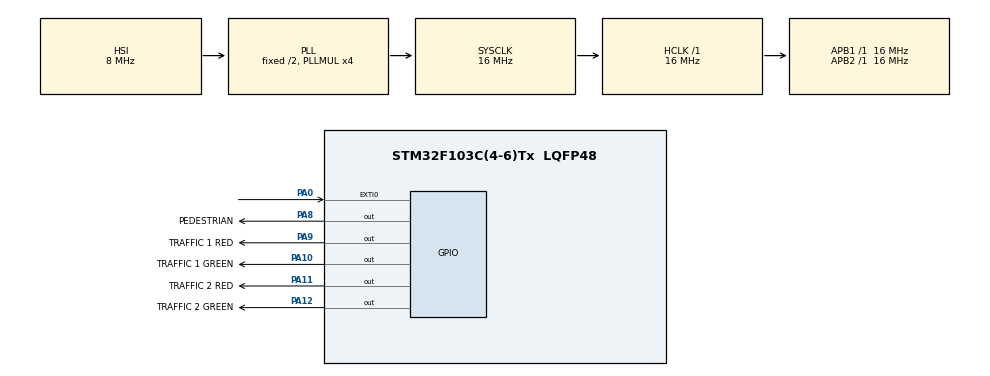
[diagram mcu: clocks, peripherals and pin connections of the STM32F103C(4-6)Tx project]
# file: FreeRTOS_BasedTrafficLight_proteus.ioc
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FREERTOS.BinarySemaphores01=myBinarySem01,Dynamic,NULL,Available;myBinarySem02,Dynamic,NULL,Available
FREERTOS.Tasks01=Traffic1,0,128,StartTraffic1,Default,NULL,Dynamic,NULL,NULL;Traffic2,0,128,StartTraffic2,Default,NULL,Dynamic,NULL,NULL;Pedestrian,2,128,StartPedestrian,Default,NULL,Dynamic,NULL,NULL
FREERTOS.configUSE_NEWLIB_REENTRANT=1
Mcu.Family=STM32F1
Mcu.Name=STM32F103C(4-6)Tx
Mcu.Package=LQFP48
NVIC.EXTI0_IRQn=true\:0\:0\:false\:false\:true\:false\:true\:true\:true
NVIC.PriorityGroup=NVIC_PRIORITYGROUP_4
NVIC.TIM2_IRQn=true\:15\:0\:false\:false\:true\:false\:false\:true\:true
NVIC.TimeBase=TIM2_IRQn
NVIC.TimeBaseIP=TIM2
PA0-WKUP.Signal=GPXTI0
PA10.GPIO_Label=TRAFFIC 1 GREEN
PA10.Signal=GPIO_Output
PA11.GPIO_Label=TRAFFIC 2 RED
PA11.Signal=GPIO_Output
PA12.GPIO_Label=TRAFFIC 2 GREEN
PA12.Signal=GPIO_Output
PA13.Mode=Serial_Wire
PA13.Signal=SYS_JTMS-SWDIO
PA14.Mode=Serial_Wire
PA14.Signal=SYS_JTCK-SWCLK
PA8.GPIO_Label=PEDESTRIAN
PA8.Signal=GPIO_Output
PA9.GPIO_Label=TRAFFIC 1 RED
PA9.Signal=GPIO_Output
PD0-OSC_IN.Mode=HSE-External-Oscillator
PD0-OSC_IN.Signal=RCC_OSC_IN
PD1-OSC_OUT.Mode=HSE-External-Oscillator
PD1-OSC_OUT.Signal=RCC_OSC_OUT
ProjectManager.HeapSize=0x200
ProjectManager.StackSize=0x400
ProjectManager.TargetToolchain=STM32CubeIDE
RCC.AHBFreq_Value=16000000
RCC.APB1Freq_Value=16000000
RCC.APB1TimFreq_Value=16000000
RCC.APB2Freq_Value=16000000
RCC.APB2TimFreq_Value=16000000
RCC.HCLKFreq_Value=16000000
RCC.PLLMUL=RCC_PLL_MUL4
RCC.SYSCLKFreq_VALUE=16000000
RCC.SYSCLKSource=RCC_SYSCLKSOURCE_PLLCLK
RCC.USBFreq_Value=16000000
VP_FREERTOS_VS_CMSIS_V1.Mode=CMSIS_V1
VP_SYS_VS_tim2.Mode=TIM2
board=custom

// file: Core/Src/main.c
/* USER CODE BEGIN Header */
/**
  ******************************************************************************
  * @file           : main.c
  * @brief          : Main program body
  ******************************************************************************
  * @attention
  *
  * Copyright (c) 2024 STMicroelectronics.
  * All rights reserved.
  *
  * This software is licensed under terms that can be found in the LICENSE file
  * in the root directory of this software component.
  * If no LICENSE file comes with this software, it is provided AS-IS.
  *
  ******************************************************************************
  */
/* USER CODE END Header */
#include "main.h"
#include "cmsis_os.h"

/* USER CODE BEGIN Includes */

#include "string.h"
#include "stdint.h"

/* USER CODE END Includes */

osThreadId Traffic1Handle;
osThreadId Traffic2Handle;
osThreadId PedestrianHandle;
osSemaphoreId myBinarySem01Handle;
osSemaphoreId myBinarySem02Handle;

void SystemClock_Config(void);
static void MX_GPIO_Init(void);
void StartTraffic1(void const * argument);
void StartTraffic2(void const * argument);
void StartPedestrian(void const * argument);

int main(void)
{

  /* MCU Configuration--------------------------------------------------------*/

  /* Reset of all peripherals, Initializes the Flash interface and the Systick. */
  HAL_Init();

  /* Configure the system clock */
  SystemClock_Config();

  /* Initialize all configured peripherals */
  MX_GPIO_Init();

  /* Create the semaphores(s) */
  /* definition and creation of myBinarySem01 */
  osSemaphoreDef(myBinarySem01);
  myBinarySem01Handle = osSemaphoreCreate(osSemaphore(myBinarySem01), 1);

  /* definition and creation of myBinarySem02 */
  osSemaphoreDef(myBinarySem02);
  myBinarySem02Handle = osSemaphoreCreate(osSemaphore(myBinarySem02), 1);

  /* Create the thread(s) */
  /* definition and creation of Traffic1 */
  osThreadDef(Traffic1, StartTraffic1, osPriorityNormal, 0, 128);
  Traffic1Handle = osThreadCreate(osThread(Traffic1), NULL);

  /* definition and creation of Traffic2 */
  osThreadDef(Traffic2, StartTraffic2, osPriorityNormal, 0, 128);
  Traffic2Handle = osThreadCreate(osThread(Traffic2), NULL);

  /* definition and creation of Pedestrian */
  osThreadDef(Pedestrian, StartPedestrian, osPriorityHigh, 0, 128);
  PedestrianHandle = osThreadCreate(osThread(Pedestrian), NULL);

  /* Start scheduler */
  osKernelStart();

  /* We should never get here as control is now taken by the scheduler */

  /* Infinite loop */
  while (1)
  {

  }
}

void SystemClock_Config(void)
{
  RCC_OscInitTypeDef RCC_OscInitStruct = {0};
  RCC_ClkInitTypeDef RCC_ClkInitStruct = {0};

  /** Initializes the RCC Oscillators according to the specified parameters
  * in the RCC_OscInitTypeDef structure.
  */
  RCC_OscInitStruct.OscillatorType = RCC_OSCILLATORTYPE_HSI;
  RCC_OscInitStruct.HSIState = RCC_HSI_ON;
  RCC_OscInitStruct.HSICalibrationValue = RCC_HSICALIBRATION_DEFAULT;
  RCC_OscInitStruct.PLL.PLLState = RCC_PLL_ON;
  RCC_OscInitStruct.PLL.PLLSource = RCC_PLLSOURCE_HSI_DIV2;
  RCC_OscInitStruct.PLL.PLLMUL = RCC_PLL_MUL4;
  if (HAL_RCC_OscConfig(&RCC_OscInitStruct) != HAL_OK)
  {
    Error_Handler();
  }

  /** Initializes the CPU, AHB and APB buses clocks
  */
  RCC_ClkInitStruct.ClockType = RCC_CLOCKTYPE_HCLK|RCC_CLOCKTYPE_SYSCLK
                              |RCC_CLOCKTYPE_PCLK1|RCC_CLOCKTYPE_PCLK2;
  RCC_ClkInitStruct.SYSCLKSource = RCC_SYSCLKSOURCE_PLLCLK;
  RCC_ClkInitStruct.AHBCLKDivider = RCC_SYSCLK_DIV1;
  RCC_ClkInitStruct.APB1CLKDivider = RCC_HCLK_DIV1;
  RCC_ClkInitStruct.APB2CLKDivider = RCC_HCLK_DIV1;

  if (HAL_RCC_ClockConfig(&RCC_ClkInitStruct, FLASH_LATENCY_0) != HAL_OK)
  {
    Error_Handler();
  }
}

static void MX_GPIO_Init(void)
{
  GPIO_InitTypeDef GPIO_InitStruct = {0};

  /* GPIO Ports Clock Enable */
  __HAL_RCC_GPIOD_CLK_ENABLE();
  __HAL_RCC_GPIOA_CLK_ENABLE();

  /*Configure GPIO pin Output Level */
  HAL_GPIO_WritePin(GPIOA, PEDESTRIAN_Pin|TRAFFIC_1_RED_Pin|TRAFFIC_1_GREEN_Pin|TRAFFIC_2_RED_Pin
                          |TRAFFIC_2_GREEN_Pin, GPIO_PIN_RESET);

  /*Configure GPIO pin : PA0 */
  GPIO_InitStruct.Pin = GPIO_PIN_0;
  GPIO_InitStruct.Mode = GPIO_MODE_IT_RISING;
  GPIO_InitStruct.Pull = GPIO_NOPULL;
  HAL_GPIO_Init(GPIOA, &GPIO_InitStruct);

  /*Configure GPIO pins : PEDESTRIAN_Pin TRAFFIC_1_RED_Pin TRAFFIC_1_GREEN_Pin TRAFFIC_2_RED_Pin
                           TRAFFIC_2_GREEN_Pin */
  GPIO_InitStruct.Pin = PEDESTRIAN_Pin|TRAFFIC_1_RED_Pin|TRAFFIC_1_GREEN_Pin|TRAFFIC_2_RED_Pin
                          |TRAFFIC_2_GREEN_Pin;
  GPIO_InitStruct.Mode = GPIO_MODE_OUTPUT_PP;
  GPIO_InitStruct.Pull = GPIO_NOPULL;
  GPIO_InitStruct.Speed = GPIO_SPEED_FREQ_LOW;
  HAL_GPIO_Init(GPIOA, &GPIO_InitStruct);

  /* EXTI interrupt init*/
  HAL_NVIC_SetPriority(EXTI0_IRQn, 0, 0);
  HAL_NVIC_EnableIRQ(EXTI0_IRQn);

}

/* USER CODE BEGIN 4 */

void HAL_GPIO_EXTI_Callback(uint16_t GPIO_Pin)
{
	BaseType_t xHigherPriorityTaskWoken = pdFALSE;

	if (GPIO_Pin == GPIO_PIN_0)
	{
		xSemaphoreGiveFromISR(myBinarySem02Handle,portMAX_DELAY);

		portYIELD_FROM_ISR(xHigherPriorityTaskWoken);
	}

}

/* USER CODE END 4 */

void StartTraffic1(void const * argument)
{
  /* USER CODE BEGIN 5 */
  /* Infinite loop */
	HAL_GPIO_WritePin(GPIOA,GPIO_PIN_9,GPIO_PIN_SET); // Kirmizi 1

	  /* Infinite loop */
	for(;;)
	{
		if(xSemaphoreTake(myBinarySem01Handle,portMAX_DELAY) == pdTRUE)
		{
			HAL_GPIO_WritePin(GPIOA,GPIO_PIN_9,GPIO_PIN_RESET); // Kirmizi 1
			HAL_GPIO_WritePin(GPIOA,GPIO_PIN_10,GPIO_PIN_SET);  //  Yesil 1

			HAL_Delay(5000);

			HAL_GPIO_WritePin(GPIOA,GPIO_PIN_10,GPIO_PIN_RESET); // Yesil 1
			HAL_GPIO_WritePin(GPIOA,GPIO_PIN_9,GPIO_PIN_SET);   // Kirmizi 1

			HAL_Delay(1000);

			xSemaphoreGive(myBinarySem01Handle);
		}

		vTaskDelay(pdMS_TO_TICKS(5000));
  }
  /* USER CODE END 5 */
}

void StartTraffic2(void const * argument)
{
  /* USER CODE BEGIN StartTraffic2 */
	HAL_GPIO_WritePin(GPIOA,GPIO_PIN_11,GPIO_PIN_SET); // Kirmizi 2
	  /* Infinite loop */
	for(;;)
	{
		if(xSemaphoreTake(myBinarySem01Handle,portMAX_DELAY) == pdTRUE)
		{
			HAL_GPIO_WritePin(GPIOA,GPIO_PIN_11,GPIO_PIN_RESET); // Kirmizi 2
			HAL_GPIO_WritePin(GPIOA,GPIO_PIN_12,GPIO_PIN_SET);   // Yesil 2

			HAL_Delay(5000);

			HAL_GPIO_WritePin(GPIOA,GPIO_PIN_12,GPIO_PIN_RESET); // Yesil 2
			HAL_GPIO_WritePin(GPIOA,GPIO_PIN_11,GPIO_PIN_SET);   // Kirmizi 2

			HAL_Delay(1000);

			xSemaphoreGive(myBinarySem01Handle);
		}

		vTaskDelay(pdMS_TO_TICKS(5000));
  }
  /* USER CODE END StartTraffic2 */
}

void StartPedestrian(void const * argument)
{
  /* USER CODE BEGIN StartPedestrian */
  /* Infinite loop */
	for(;;)
	{
		if(xSemaphoreTake(myBinarySem02Handle,portMAX_DELAY) == pdTRUE)
		{
			HAL_Delay(3000);
			HAL_GPIO_WritePin(GPIOA,GPIO_PIN_10,GPIO_PIN_RESET);
			HAL_GPIO_WritePin(GPIOA,GPIO_PIN_9,GPIO_PIN_SET);
			HAL_GPIO_WritePin(GPIOA,GPIO_PIN_12,GPIO_PIN_RESET);
			HAL_GPIO_WritePin(GPIOA,GPIO_PIN_11,GPIO_PIN_SET);

			HAL_Delay(2000);

			HAL_GPIO_WritePin(GPIOA,GPIO_PIN_8,GPIO_PIN_SET);
			HAL_Delay(4000);

			HAL_GPIO_WritePin(GPIOA,GPIO_PIN_8,GPIO_PIN_RESET);
			HAL_Delay(500);
			HAL_GPIO_WritePin(GPIOA,GPIO_PIN_8,GPIO_PIN_SET);
			HAL_Delay(500);
			HAL_GPIO_WritePin(GPIOA,GPIO_PIN_8,GPIO_PIN_RESET);

			HAL_Delay(1000);

			xSemaphoreGive(myBinarySem01Handle);
		}
		vTaskDelay(pdMS_TO_TICKS(1));
	}
  /* USER CODE END StartPedestrian */
}

void HAL_TIM_PeriodElapsedCallback(TIM_HandleTypeDef *htim)
{
  if (htim->Instance == TIM2) {
    HAL_IncTick();
  }
}

void Error_Handler(void)
{
  __disable_irq();
  while (1)
  {
  }
}
